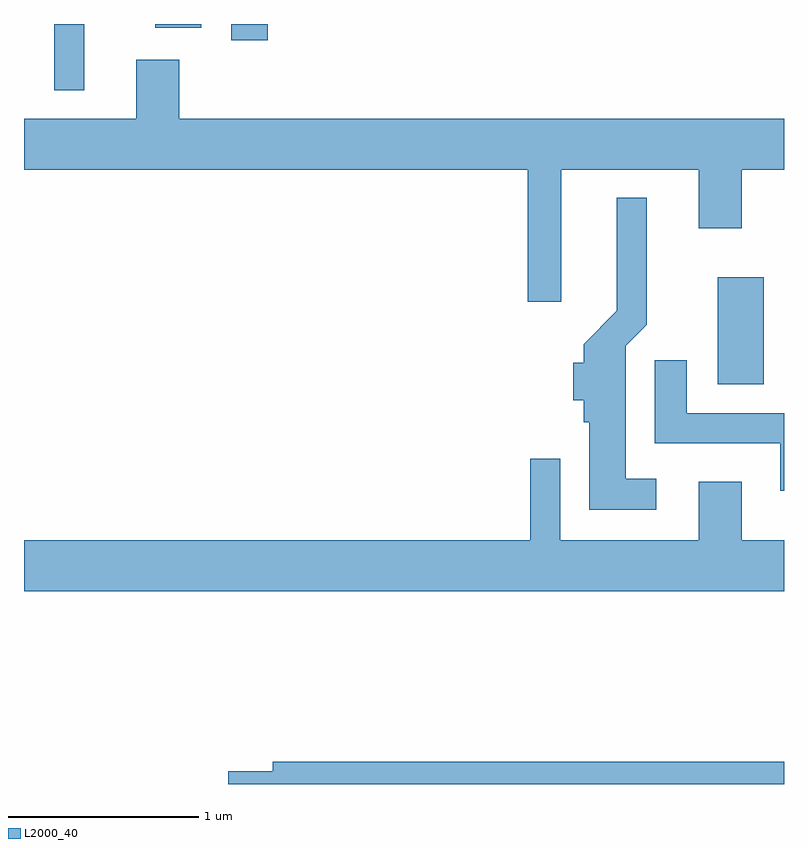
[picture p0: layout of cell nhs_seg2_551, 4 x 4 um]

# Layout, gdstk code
import gdstk
lib = gdstk.Library(unit=1e-6, precision=1e-09)
def R(c, l, rs):  # rectangles x0, y0, x1, y1
    for r in rs: c.add(gdstk.rectangle(r[:2], r[2:], *l))
def P(c, l, *ps):  # polygons
    for p in ps: c.add(gdstk.Polygon(p, *l))
L2000_40 = (2000, 40)

nhs_seg2_551 = lib.new_cell('nhs_seg2_551')
R(nhs_seg2_551, L2000_40, [(205.261,993.906,205.504,994.469), (201.771,995.453,201.929,995.802), (202.701,995.716,202.894,995.802), (202.301,995.781,202.544,995.802)])
P(nhs_seg2_551, L2000_40, [(204.439,995.036),(205.161,995.036),(205.161,994.726),(205.389,994.726),(205.389,995.036),(205.611,995.036),(205.611,995.304),(202.429,995.304),(202.429,995.614),(202.201,995.614),(202.201,995.304),(201.611,995.304),(201.611,995.036),(204.261,995.036),(204.261,994.341),(204.439,994.341)],
  [(204.938,993.409),(204.779,993.409),(204.779,994.109),(204.889,994.219),(204.889,994.888),(204.731,994.888),(204.731,994.292),(204.556,994.117),(204.556,994.019),(204.501,994.019),(204.501,993.821),(204.556,993.821),(204.556,993.706),(204.586,993.706),(204.586,993.246),(204.938,993.246)],
  [(205.611,993.754),(205.099,993.754),(205.099,994.033),(204.931,994.033),(204.931,993.596),(205.591,993.596),(205.591,993.346),(205.611,993.346)],
  [(205.611,993.084),(205.389,993.084),(205.389,993.394),(205.161,993.394),(205.161,993.084),(204.434,993.084),(204.434,993.513),(204.276,993.513),(204.276,993.084),(201.611,993.084),(201.611,992.816),(205.611,992.816)],
  [(205.611,991.919),(202.921,991.919),(202.921,991.869),(202.686,991.869),(202.686,991.802),(205.611,991.802)])

lib.write_gds('nhs_seg2_551.gds')
